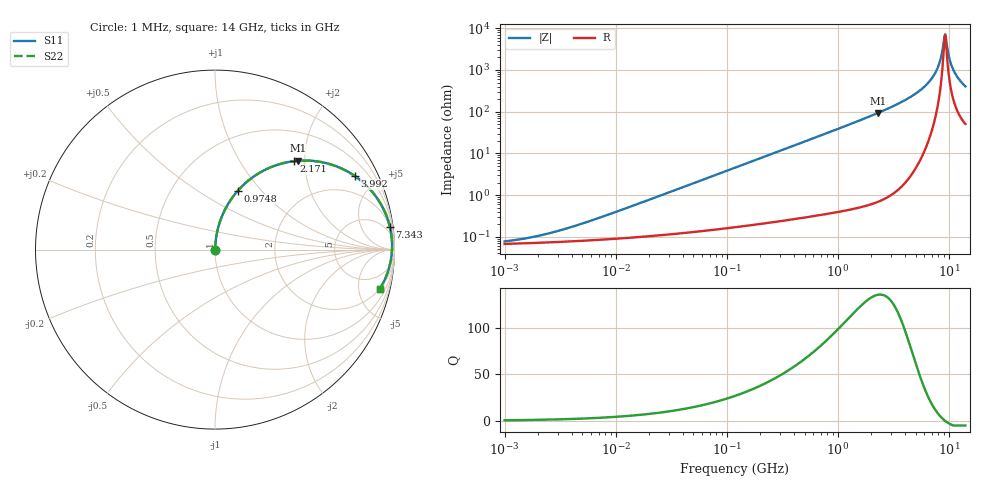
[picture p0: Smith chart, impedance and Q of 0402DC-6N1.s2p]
# MHz  S  MA  R  50
!Freq  MagS11  AngS11  MagS21  AngS21  MagS12  AngS12  MagS22  AngS22
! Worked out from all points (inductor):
!   801 points, 1 MHz to 14 GHz, reference 50 ohm
!   read as one part in series: L = 6.1 nH near 6.527 MHz
!   highest Q = 136 at 2.277 GHz (marker M1), where L = 6.5 nH
!   self-resonance near 9.105 GHz
!   S11 on the Smith chart (normalised r, x): 1 MHz: 1.00, +0.00; 974.8 MHz: 1.01, +0.76; 2.171 GHz: 1.01, +1.76; 3.992 GHz: 1.04, +3.77; 7.343 GHz: 2, +15; 14 GHz: 2.02, -8.06
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1  0.000774 29.6  0.9993 -0.0  0.9993 -0.0  0.000774 29.6
2.148335  0.001094 48.7  0.9993 -0.0  0.9993 -0.0  0.001094 48.7
4.958368  0.00206 67.1  0.9992 -0.1  0.9992 -0.1  0.00206 67.1
24.29341  0.009363 82.9  0.9989 -0.5  0.9989 -0.5  0.009363 82.9
119.025  0.04553 85.3  0.9973 -2.6  0.9973 -2.6  0.04553 85.3
583.1601  0.2183 76.6  0.9729 -12.6  0.9729 -12.6  0.2183 76.6
974.8076  0.3523 68.8  0.9323 -20.6  0.9323 -20.6  0.3523 68.8
1445.969  0.4923 60.0  0.8663 -29.5  0.8663 -29.5  0.4923 60.0
2170.642  0.6587 48.4  0.7475 -41.2  0.7475 -41.2  0.6587 48.4
2276.904  0.6784 46.9  0.7297 -42.7  0.7297 -42.7  0.6784 46.9
2857.179  0.7686 39.3  0.634 -50.2  0.634 -50.2  0.7686 39.3
3992.383  0.8798 27.8  0.4664 -61.6  0.4664 -61.6  0.8798 27.8
5782.213  0.9587 15.2  0.2614 -73.4  0.2614 -73.4  0.9587 15.2
7343.042  0.9826 7.3  0.1267 -78.5  0.1267 -78.5  0.9826 7.3
8079.58  0.9864 4.2  0.07339 -77.3  0.07339 -77.3  0.9864 4.2
8889.995  0.9869 1.1  0.02295 -54.6  0.02295 -54.6  0.9869 1.1
9214.437  0.9862 -0.1  0.01382 4.4  0.01382 4.4  0.9862 -0.1
9437.284  0.9855 -0.8  0.02035 44.2  0.02035 44.2  0.9855 -0.8
10138.68  0.9822 -3.1  0.05669 70.1  0.05669 70.1  0.9822 -3.1
10892.21  0.977 -5.4  0.09577 73.4  0.09577 73.4  0.977 -5.4
12128.81  0.9657 -8.8  0.1546 72.8  0.1546 72.8  0.9657 -8.8
14000  0.944 -13.3  0.2324 69.5  0.2324 69.5  0.944 -13.3
